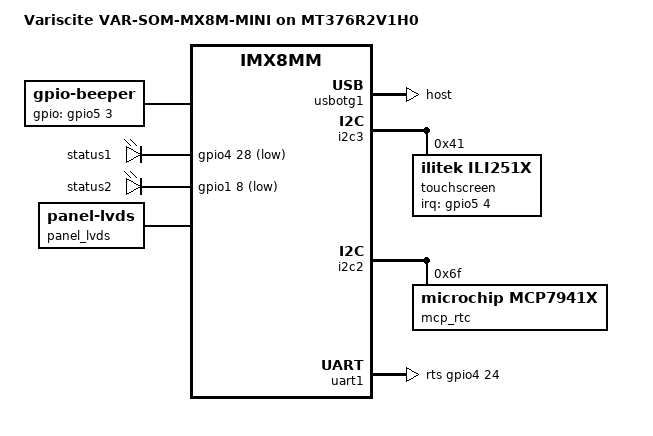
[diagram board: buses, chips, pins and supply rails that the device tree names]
// SPDX-License-Identifier: (GPL-2.0+ OR MIT)
/*
 * Copyright 2019 NXP
 * Copyright 2019-2025 Variscite Ltd.
 */

#include "imx8mm-var-som-symphony.dts"

/ {
	model = "Variscite VAR-SOM-MX8M-MINI on MT376R2V1H0";

	beeper {
		compatible = "gpio-beeper";
		pinctrl-0 = <&pinctrl_beeper>;
		gpios = <&gpio5 3 GPIO_ACTIVE_HIGH>;
	};
	
	leds {
		compatible = "gpio-leds";
		pinctrl-names = "default";
		pinctrl-0 = <&pinctrl_gpio_led>;

		led-0 {
			label = "status1";
			gpios = <&gpio4 28 GPIO_ACTIVE_LOW>;
		};

		led-1 {
			label = "status2";
			gpios = <&gpio1 8 GPIO_ACTIVE_LOW>;
		};
	};
};

&pcie0 {
	status = "disabled";
};

&pcie0_refclk {
	status = "disabled";
};

&extcon_ptn5150 {
	status = "disabled";
};

&ft5x06_ts {
	status = "disabled";
};

&ov5640_mipi1 {
	status = "disabled";
};

&usbotg1 {
	dr_mode = "host";
};

&i2c3 {
	touchscreen@41 {
		compatible = "ilitek,ili251x";
		reg = <0x41>;
		pinctrl-names = "default";
		pinctrl-0 = <&pinctrl_extcon>;
		interrupt-parent = <&gpio5>;
		interrupts = <4 IRQ_TYPE_LEVEL_LOW>;
		#reset-gpios = <&gpio2 19 GPIO_ACTIVE_LOW>;
		#touchscreen-size-x;
		#touchscreen-size-y;
		#touchscreen-inverted-x;
		#touchscreen-inverted-y;
		#touchscreen-swapped-x-y;

		wakeup-source;
	};
};

&i2c2 {
	/* DS1337 RTC module */
	mcp_rtc: rtc@6f {
		compatible = "microchip,mcp7941x";
		reg = <0x6f>;
		status = "okay";
	};
};

&panel_lvds {
	compatible = "panel-lvds";
	data-mapping = "vesa-24";
	width-mm = <154>;
	height-mm = <87>;
};

&panel_lvds_timings {
	clock-frequency = <36000000>;
	hactive = <800>;
	vactive = <480>;
	hback-porch = <16>;
	hfront-porch = <44>;
	vback-porch = <4>;
	vfront-porch = <47>;
	hsync-len = <48>;
	vsync-len = <3>;
	hsync-active = <0>;
	vsync-active = <0>;
	de-active = <1>;
	pixelclk-active = <0>;
};

&iomuxc {
	pinctrl_beeper: beepergrp {
		fsl,pins = <
			MX8MM_IOMUXC_SPDIF_TX_GPIO5_IO3		0x14
		>;
	};
	
	pinctrl_gpio_led: gpioledgrp {
		fsl,pins = <
			MX8MM_IOMUXC_SAI3_RXFS_GPIO4_IO28		0x16
			MX8MM_IOMUXC_GPIO1_IO08_GPIO1_IO8		0x16
		>;
	};
};

&uart1 {
 	pinctrl-names = "default";
	pinctrl-0 = <&pinctrl_uart1 &pinctrl_uart1_rs485_de>;
 	status = "okay";

	/* RS485: driver enable is a GPIO on the carrier (SAI2_TXFS pad). */
	linux,rs485-enabled-at-boot-time;
	rs485-rts-active-high;
	rs485-rts-delay = <0 0>;
	rts-gpios = <&gpio4 24 GPIO_ACTIVE_HIGH>;
};

&iomuxc {
	/*
	* RS485 driver enable for UART1.
	* Pad SAI2_TXFS is wired to the transceiver DE pin on the carrier.
	*/
	pinctrl_uart1_rs485_de: uart1rs485degrp {
		fsl,pins = <
			MX8MM_IOMUXC_SAI2_TXFS_GPIO4_IO24		0x140
		>;
	};
};
